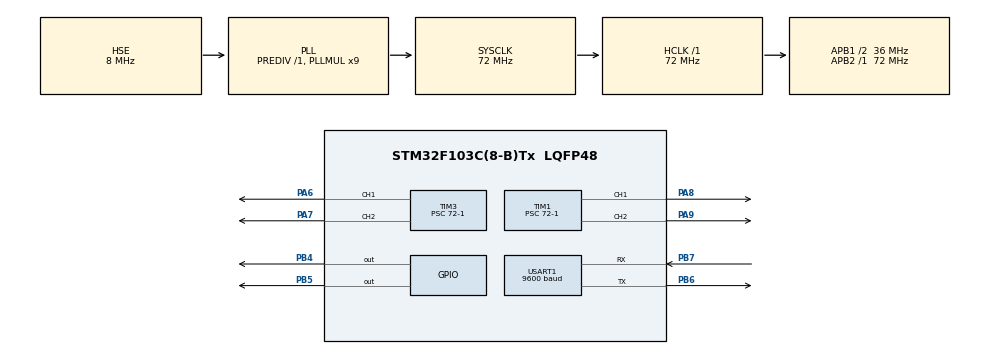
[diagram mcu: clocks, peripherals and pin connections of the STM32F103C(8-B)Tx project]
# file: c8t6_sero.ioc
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Mcu.Family=STM32F1
Mcu.Name=STM32F103C(8-B)Tx
Mcu.Package=LQFP48
NVIC.PriorityGroup=NVIC_PRIORITYGROUP_4
PA13.Mode=Serial_Wire
PA13.Signal=SYS_JTMS-SWDIO
PA14.Mode=Serial_Wire
PA14.Signal=SYS_JTCK-SWCLK
PA6.Signal=S_TIM3_CH1
PA7.Signal=S_TIM3_CH2
PA8.Signal=S_TIM1_CH1
PA9.Signal=S_TIM1_CH2
PB4.Signal=GPIO_Output
PB5.Signal=GPIO_Output
PB6.Mode=Asynchronous
PB6.Signal=USART1_TX
PB7.Mode=Asynchronous
PB7.Signal=USART1_RX
PD0-OSC_IN.Mode=HSE-External-Oscillator
PD0-OSC_IN.Signal=RCC_OSC_IN
PD1-OSC_OUT.Mode=HSE-External-Oscillator
PD1-OSC_OUT.Signal=RCC_OSC_OUT
ProjectManager.HeapSize=0x200
ProjectManager.StackSize=0x400
ProjectManager.TargetToolchain=MDK-ARM V5.32
RCC.AHBFreq_Value=72000000
RCC.APB1CLKDivider=RCC_HCLK_DIV2
RCC.APB1Freq_Value=36000000
RCC.APB1TimFreq_Value=72000000
RCC.APB2Freq_Value=72000000
RCC.APB2TimFreq_Value=72000000
RCC.HCLKFreq_Value=72000000
RCC.PLLMUL=RCC_PLL_MUL9
RCC.PLLSourceVirtual=RCC_PLLSOURCE_HSE
RCC.SYSCLKFreq_VALUE=72000000
RCC.SYSCLKSource=RCC_SYSCLKSOURCE_PLLCLK
RCC.USBFreq_Value=72000000
SH.S_TIM1_CH1.0=TIM1_CH1,PWM Generation1 CH1
SH.S_TIM1_CH2.0=TIM1_CH2,PWM Generation2 CH2
SH.S_TIM3_CH1.0=TIM3_CH1,PWM Generation1 CH1
SH.S_TIM3_CH2.0=TIM3_CH2,PWM Generation2 CH2
TIM1.Channel-PWM\ Generation1\ CH1=TIM_CHANNEL_1
TIM1.Channel-PWM\ Generation2\ CH2=TIM_CHANNEL_2
TIM1.Period=20000-1
TIM1.Prescaler=72-1
TIM3.Channel-PWM\ Generation1\ CH1=TIM_CHANNEL_1
TIM3.Channel-PWM\ Generation2\ CH2=TIM_CHANNEL_2
TIM3.Period=2000-1
TIM3.Prescaler=72-1
USART1.BaudRate=9600
USART1.VirtualMode=VM_ASYNC
VP_TIM1_VS_ClockSourceINT.Mode=Internal
VP_TIM3_VS_ClockSourceINT.Mode=Internal
board=custom

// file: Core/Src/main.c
/* USER CODE BEGIN Header */
/**
  ******************************************************************************
  * @file           : main.c
  * @brief          : Main program body
  ******************************************************************************
  * @attention
  *
  * Copyright (c) 2025 STMicroelectronics.
  * All rights reserved.
  *
  * This software is licensed under terms that can be found in the LICENSE file
  * in the root directory of this software component.
  * If no LICENSE file comes with this software, it is provided AS-IS.
  *
  ******************************************************************************
  */
/* USER CODE END Header */
#include "main.h"
#include "tim.h"
#include "usart.h"
#include "gpio.h"

/* USER CODE BEGIN Includes */

uint16_t TIM3_pwmVal=0;     //TIM3的占空比
uint16_t TIM1_pwmVal=0;     //TIM3的占空比
uint16_t TIM3_direction=1;  //控制TIM3的呼吸；1是越来越亮，0是越来越暗
uint16_t TIM1_direction=1;  //控制TIM4的呼吸；1是越来越亮，0是越来越暗

int i;
/* USER CODE END Includes */

void SystemClock_Config(void);

int main(void)
{
//  /* USER CODE BEGIN 1 */
//   // 1.启动舵机PWM（使用TIM1通道1）
// HAL_TIM_PWM_Start(&htim1, TIM_CHANNEL_1);
//	//  2.设置舵机初始位置（0度）
// Servo_SetAngle(&htim1, TIM_CHANNEL_1, 0);
// Servo_Test();
  /* USER CODE END 1 */

  /* MCU Configuration--------------------------------------------------------*/

  /* Reset of all peripherals, Initializes the Flash interface and the Systick. */
  HAL_Init();

  /* Configure the system clock */
  SystemClock_Config();

  /* Initialize all configured peripherals */
  MX_GPIO_Init();
  MX_TIM1_Init();
  MX_USART1_UART_Init();
  MX_TIM3_Init();
  /* USER CODE BEGIN 2 */
HAL_TIM_PWM_Start(&htim3,TIM_CHANNEL_2);
  /* USER CODE END 2 */

  /* Infinite loop */
  /* USER CODE BEGIN WHILE */
  while (1)
  {

//			Servo_Test();
//      Servo_SetAngle(&htim1, TIM_CHANNEL_1, 90); // 转向90度
//		HAL_GPIO_TogglePin(GPIOB, GPIO_PIN_4);  // PB4
//    HAL_GPIO_TogglePin(GPIOB, GPIO_PIN_5);  // PB5
//    HAL_Delay(500);  // 500ms方波
//		__HAL_TIM_SET_COMPARE(&htim3, TIM_CHANNEL_1, 500);  // 50%占空比
//__HAL_TIM_SET_COMPARE(&htim3, TIM_CHANNEL_2, 500);
//		HAL_Delay(50);  //控制呼吸灯呼吸速率
//                   //控制占空比大小，即修改CCRx的大小
//        if(TIM3_direction){
//            TIM3_pwmVal=TIM3_pwmVal+10;
//
//        }else{
//            TIM3_pwmVal=TIM3_pwmVal-10;
//        }
//        //设置了ARR为499，因此每计数500为一个周期
//        if(TIM3_pwmVal > 500){
//            TIM3_direction = 0;  //改变呼吸灯方向
//        }else if(TIM3_pwmVal == 0){
//            TIM3_direction = 1;  //改变呼吸灯方向
//        }
//        //修改定时器3通道2的PWM的占空比
//        __HAL_TIM_SetCompare(&htim3,TIM_CHANNEL_2,TIM3_pwmVal);
//          if(TIM1_direction){
//            TIM1_pwmVal=TIM1_pwmVal+20;
//
//        }else{
//            TIM1_pwmVal=TIM1_pwmVal-20;
//        }
//        if(TIM1_pwmVal > 500){
//            TIM1_direction = 0;  //改变呼吸灯方向
//        }else if(TIM1_pwmVal == 0){
//            TIM1_direction = 1;  //改变呼吸灯方向
//        }
//        //修改定时器4通道2的PWM的占空比
//        __HAL_TIM_SetCompare(&htim1,TIM_CHANNEL_2,TIM1_pwmVal);

for(i=500;i<2400;i+=100)
	{
		__HAL_TIM_SET_COMPARE(&htim3,TIM_CHANNEL_2,i);
		HAL_Delay(100);
	}
	for(i=2500;i>600;i-=100)
	{
		__HAL_TIM_SET_COMPARE(&htim3,TIM_CHANNEL_2,i);
		HAL_Delay(100);
	}

		 HAL_GPIO_TogglePin(GPIOB, GPIO_PIN_4);  // PB4
    HAL_GPIO_TogglePin(GPIOB, GPIO_PIN_5);  // PB5
    HAL_Delay(500);  // 500ms方波

    /* USER CODE END WHILE */

  }
}

void SystemClock_Config(void)
{
  RCC_OscInitTypeDef RCC_OscInitStruct = {0};
  RCC_ClkInitTypeDef RCC_ClkInitStruct = {0};

  /** Initializes the RCC Oscillators according to the specified parameters
  * in the RCC_OscInitTypeDef structure.
  */
  RCC_OscInitStruct.OscillatorType = RCC_OSCILLATORTYPE_HSE;
  RCC_OscInitStruct.HSEState = RCC_HSE_ON;
  RCC_OscInitStruct.HSEPredivValue = RCC_HSE_PREDIV_DIV1;
  RCC_OscInitStruct.HSIState = RCC_HSI_ON;
  RCC_OscInitStruct.PLL.PLLState = RCC_PLL_ON;
  RCC_OscInitStruct.PLL.PLLSource = RCC_PLLSOURCE_HSE;
  RCC_OscInitStruct.PLL.PLLMUL = RCC_PLL_MUL9;
  if (HAL_RCC_OscConfig(&RCC_OscInitStruct) != HAL_OK)
  {
    Error_Handler();
  }

  /** Initializes the CPU, AHB and APB buses clocks
  */
  RCC_ClkInitStruct.ClockType = RCC_CLOCKTYPE_HCLK|RCC_CLOCKTYPE_SYSCLK
                              |RCC_CLOCKTYPE_PCLK1|RCC_CLOCKTYPE_PCLK2;
  RCC_ClkInitStruct.SYSCLKSource = RCC_SYSCLKSOURCE_PLLCLK;
  RCC_ClkInitStruct.AHBCLKDivider = RCC_SYSCLK_DIV1;
  RCC_ClkInitStruct.APB1CLKDivider = RCC_HCLK_DIV2;
  RCC_ClkInitStruct.APB2CLKDivider = RCC_HCLK_DIV1;

  if (HAL_RCC_ClockConfig(&RCC_ClkInitStruct, FLASH_LATENCY_2) != HAL_OK)
  {
    Error_Handler();
  }
}

void Error_Handler(void)
{
  __disable_irq();
  while (1)
  {
  }
}
